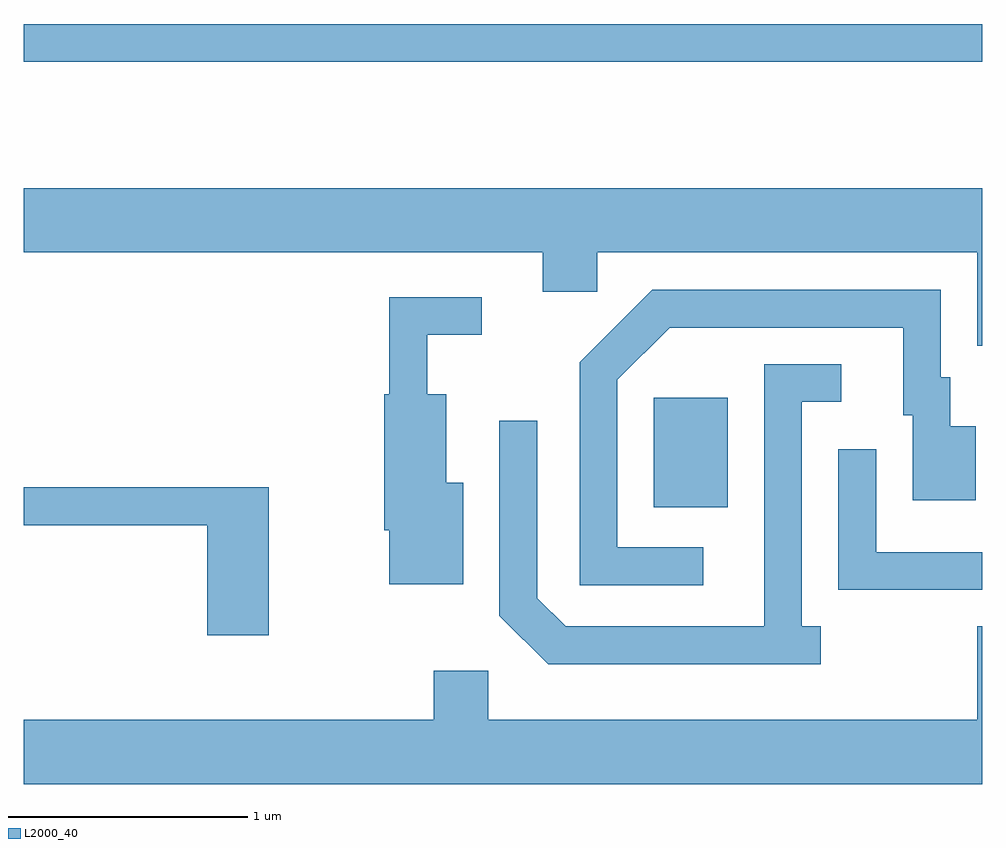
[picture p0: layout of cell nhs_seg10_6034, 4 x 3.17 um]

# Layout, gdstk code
import gdstk
lib = gdstk.Library(unit=1e-6, precision=1e-09)
def R(c, l, rs):  # rectangles x0, y0, x1, y1
    for r in rs: c.add(gdstk.rectangle(r[:2], r[2:], *l))
def P(c, l, *ps):  # polygons
    for p in ps: c.add(gdstk.Polygon(p, *l))
L2000_40 = (2000, 40)

nhs_seg10_6034 = lib.new_cell('nhs_seg10_6034')
R(nhs_seg10_6034, L2000_40, [(366.241,2123.951,366.549,2124.409), (363.611,2125.811,367.611,2125.969)])
P(nhs_seg10_6034, L2000_40, [(367.611,2125.284),(363.611,2125.284),(363.611,2125.016),(365.776,2125.016),(365.776,2124.851),(366.004,2124.851),(366.004,2125.016),(367.591,2125.016),(367.591,2124.626),(367.611,2124.626)],
  [(366.448,2123.784),(366.089,2123.784),(366.089,2124.484),(366.307,2124.701),(367.281,2124.701),(367.281,2124.336),(367.321,2124.336),(367.321,2123.981),(367.584,2123.981),(367.584,2124.289),(367.479,2124.289),(367.479,2124.494),(367.439,2124.494),(367.439,2124.859),(366.234,2124.859),(365.931,2124.557),(365.931,2123.626),(366.448,2123.626)],
  [(365.444,2124.054),(365.374,2124.054),(365.374,2124.424),(365.294,2124.424),(365.294,2124.671),(365.523,2124.671),(365.523,2124.829),(365.136,2124.829),(365.136,2124.424),(365.116,2124.424),(365.116,2123.856),(365.136,2123.856),(365.136,2123.631),(365.444,2123.631)],
  [(366.938,2123.454),(366.859,2123.454),(366.859,2124.391),(367.023,2124.391),(367.023,2124.549),(366.701,2124.549),(366.701,2123.454),(365.872,2123.454),(365.754,2123.572),(365.754,2124.313),(365.596,2124.313),(365.596,2123.499),(365.799,2123.296),(366.938,2123.296)],
  [(367.611,2123.764),(367.169,2123.764),(367.169,2124.193),(367.011,2124.193),(367.011,2123.606),(367.611,2123.606)],
  [(364.634,2124.034),(363.611,2124.034),(363.611,2123.876),(364.376,2123.876),(364.376,2123.416),(364.634,2123.416)],
  [(367.611,2123.454),(367.591,2123.454),(367.591,2123.064),(365.549,2123.064),(365.549,2123.269),(365.321,2123.269),(365.321,2123.064),(363.611,2123.064),(363.611,2122.796),(367.611,2122.796)])

lib.write_gds('nhs_seg10_6034.gds')
